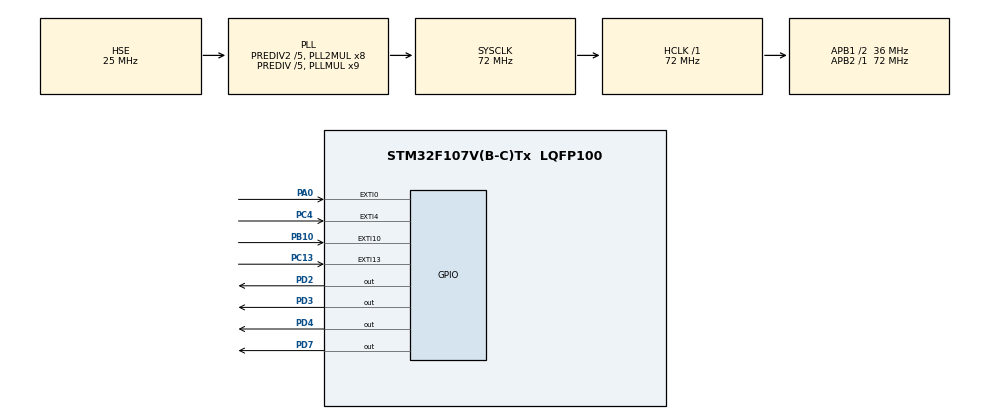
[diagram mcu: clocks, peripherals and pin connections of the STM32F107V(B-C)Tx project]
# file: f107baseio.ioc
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Mcu.Family=STM32F1
Mcu.Name=STM32F107V(B-C)Tx
Mcu.Package=LQFP100
NVIC.EXTI0_IRQn=true\:0\:0\:false\:false\:true\:true\:true\:true
NVIC.EXTI15_10_IRQn=true\:0\:0\:false\:false\:true\:true\:true\:true
NVIC.EXTI4_IRQn=true\:0\:0\:false\:false\:true\:true\:true\:true
NVIC.PriorityGroup=NVIC_PRIORITYGROUP_4
OSC_IN.Mode=HSE-External-Oscillator
OSC_IN.Signal=RCC_OSC_IN
OSC_OUT.Mode=HSE-External-Oscillator
OSC_OUT.Signal=RCC_OSC_OUT
PA0-WKUP.Signal=GPXTI0
PA13.Mode=Serial_Wire
PA13.Signal=SYS_JTMS-SWDIO
PA14.Mode=Serial_Wire
PA14.Signal=SYS_JTCK-SWCLK
PB10.Signal=GPXTI10
PC13-TAMPER-RTC.Signal=GPXTI13
PC14-OSC32_IN.Mode=LSE-External-Oscillator
PC14-OSC32_IN.Signal=RCC_OSC32_IN
PC15-OSC32_OUT.Mode=LSE-External-Oscillator
PC15-OSC32_OUT.Signal=RCC_OSC32_OUT
PC4.Signal=GPXTI4
PD2.Signal=GPIO_Output
PD3.Signal=GPIO_Output
PD4.Signal=GPIO_Output
PD7.Signal=GPIO_Output
ProjectManager.HeapSize=0x200
ProjectManager.StackSize=0x400
ProjectManager.TargetToolchain=STM32CubeIDE
RCC.AHBFreq_Value=72000000
RCC.APB1CLKDivider=RCC_HCLK_DIV2
RCC.APB1Freq_Value=36000000
RCC.APB1TimFreq_Value=72000000
RCC.APB2Freq_Value=72000000
RCC.APB2TimFreq_Value=72000000
RCC.EnbaleCSS=true
RCC.HCLKFreq_Value=72000000
RCC.HSEDivPLL=RCC_HSE_PREDIV_DIV5
RCC.HSE_VALUE=25000000
RCC.PLLMUL=RCC_PLL_MUL9
RCC.PLLSourceVirtual=RCC_PLLSOURCE_HSE
RCC.Prediv1Source=RCC_PREDIV1_SOURCE_PLL2
RCC.Prediv2=RCC_HSE_PREDIV2_DIV5
RCC.SYSCLKFreq_VALUE=72000000
RCC.SYSCLKSource=RCC_SYSCLKSOURCE_PLLCLK
RCC.USBFreq_Value=48000000
board=custom

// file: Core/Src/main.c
/* USER CODE BEGIN Header */
/**
 ******************************************************************************
 * @file           : main.c
 * @brief          : Main program body
 ******************************************************************************
 * @attention
 *
 * Copyright (c) 2023 STMicroelectronics.
 * All rights reserved.
 *
 * This software is licensed under terms that can be found in the LICENSE file
 * in the root directory of this software component.
 * If no LICENSE file comes with this software, it is provided AS-IS.
 *
 ******************************************************************************
 */
/* USER CODE END Header */
#include "main.h"

void SystemClock_Config(void);
static void MX_GPIO_Init(void);

/* USER CODE BEGIN 0 */
int ledstate[4] = { 0 };

int SwitchState(int *sst) {
	*sst = *sst == 0 ? 1 : 0;
	return *sst;
}

uint32_t usetick = 0;

void HAL_GPIO_EXTI_Callback(uint16_t GPIO_Pin) {
	uint32_t tick = HAL_GetTick();
	if (tick - usetick > 200) {
		switch (GPIO_Pin) {
		case GPIO_PIN_4:
			SwitchState(ledstate);
			break;
		case GPIO_PIN_10:
			SwitchState(ledstate + 1);
			break;
		case GPIO_PIN_13:
			SwitchState(ledstate + 2);
			break;
		case GPIO_PIN_0:
			SwitchState(ledstate + 3);
			break;
		}
	}

	usetick = tick;
}
int ProcSwitchLED(int lednum) {
	int state;
//	GPIO_TypeDef* gpioin;
//	uint16_t pinin;
	GPIO_TypeDef *gpioled;
	uint16_t pinled;

	switch (lednum) {
	case 0:
//		gpioin = GPIOC;
//		pinin = GPIO_PIN_4;
		gpioled = GPIOD;
		pinled = GPIO_PIN_2;
		break;
	case 1:
//		gpioin = GPIOB;
//		pinin = GPIO_PIN_10;
		gpioled = GPIOD;
		pinled = GPIO_PIN_3;
		break;
	case 2:
//		gpioin = GPIOC;
//		pinin = GPIO_PIN_13;
		gpioled = GPIOD;
		pinled = GPIO_PIN_4;
		break;
	case 3:
//		gpioin = GPIOA;
//		pinin = GPIO_PIN_0;
		gpioled = GPIOD;
		pinled = GPIO_PIN_7;
		break;
	}

//	state = HAL_GPIO_ReadPin(gpioin, pinin);
	state = ledstate[lednum];
	if (state) {
		HAL_GPIO_WritePin(gpioled, pinled, GPIO_PIN_SET);
	} else {
		HAL_GPIO_WritePin(gpioled, pinled, GPIO_PIN_RESET);
	}
	return 0;
}
/* USER CODE END 0 */

int main(void) {

	/* MCU Configuration--------------------------------------------------------*/

	/* Reset of all peripherals, Initializes the Flash interface and the Systick. */
	HAL_Init();

	/* Configure the system clock */
	SystemClock_Config();

	/* Initialize all configured peripherals */
	MX_GPIO_Init();

	/* Infinite loop */
	while (1) {

		/* USER CODE BEGIN 3 */
		for (int ii = 0; ii < 4; ii++) {
			ProcSwitchLED(ii);
		}
	}
	/* USER CODE END 3 */
}

void SystemClock_Config(void) {
	RCC_OscInitTypeDef RCC_OscInitStruct = { 0 };
	RCC_ClkInitTypeDef RCC_ClkInitStruct = { 0 };

	/** Initializes the RCC Oscillators according to the specified parameters
	 * in the RCC_OscInitTypeDef structure.
	 */
	RCC_OscInitStruct.OscillatorType = RCC_OSCILLATORTYPE_HSE;
	RCC_OscInitStruct.HSEState = RCC_HSE_ON;
	RCC_OscInitStruct.HSEPredivValue = RCC_HSE_PREDIV_DIV5;
	RCC_OscInitStruct.HSIState = RCC_HSI_ON;
	RCC_OscInitStruct.Prediv1Source = RCC_PREDIV1_SOURCE_PLL2;
	RCC_OscInitStruct.PLL.PLLState = RCC_PLL_ON;
	RCC_OscInitStruct.PLL.PLLSource = RCC_PLLSOURCE_HSE;
	RCC_OscInitStruct.PLL.PLLMUL = RCC_PLL_MUL9;
	RCC_OscInitStruct.PLL2.PLL2State = RCC_PLL2_ON;
	RCC_OscInitStruct.PLL2.PLL2MUL = RCC_PLL2_MUL8;
	RCC_OscInitStruct.PLL2.HSEPrediv2Value = RCC_HSE_PREDIV2_DIV5;
	if (HAL_RCC_OscConfig(&RCC_OscInitStruct) != HAL_OK) {
		Error_Handler();
	}

	/** Initializes the CPU, AHB and APB buses clocks
	 */
	RCC_ClkInitStruct.ClockType = RCC_CLOCKTYPE_HCLK | RCC_CLOCKTYPE_SYSCLK
			| RCC_CLOCKTYPE_PCLK1 | RCC_CLOCKTYPE_PCLK2;
	RCC_ClkInitStruct.SYSCLKSource = RCC_SYSCLKSOURCE_PLLCLK;
	RCC_ClkInitStruct.AHBCLKDivider = RCC_SYSCLK_DIV1;
	RCC_ClkInitStruct.APB1CLKDivider = RCC_HCLK_DIV2;
	RCC_ClkInitStruct.APB2CLKDivider = RCC_HCLK_DIV1;

	if (HAL_RCC_ClockConfig(&RCC_ClkInitStruct, FLASH_LATENCY_2) != HAL_OK) {
		Error_Handler();
	}

	/** Enables the Clock Security System
	 */
	HAL_RCC_EnableCSS();

	/** Configure the Systick interrupt time
	 */
	__HAL_RCC_PLLI2S_ENABLE();
}

static void MX_GPIO_Init(void) {
	GPIO_InitTypeDef GPIO_InitStruct = { 0 };

	/* GPIO Ports Clock Enable */
	__HAL_RCC_GPIOC_CLK_ENABLE();
	__HAL_RCC_GPIOA_CLK_ENABLE();
	__HAL_RCC_GPIOB_CLK_ENABLE();
	__HAL_RCC_GPIOD_CLK_ENABLE();

	/*Configure GPIO pin Output Level */
	HAL_GPIO_WritePin(GPIOD, GPIO_PIN_2 | GPIO_PIN_3 | GPIO_PIN_4 | GPIO_PIN_7,
			GPIO_PIN_RESET);

	/*Configure GPIO pins : PC13 PC4 */
	GPIO_InitStruct.Pin = GPIO_PIN_13 | GPIO_PIN_4;
	GPIO_InitStruct.Mode = GPIO_MODE_IT_RISING;
	GPIO_InitStruct.Pull = GPIO_NOPULL;
	HAL_GPIO_Init(GPIOC, &GPIO_InitStruct);

	/*Configure GPIO pin : PA0 */
	GPIO_InitStruct.Pin = GPIO_PIN_0;
	GPIO_InitStruct.Mode = GPIO_MODE_IT_RISING;
	GPIO_InitStruct.Pull = GPIO_NOPULL;
	HAL_GPIO_Init(GPIOA, &GPIO_InitStruct);

	/*Configure GPIO pin : PB10 */
	GPIO_InitStruct.Pin = GPIO_PIN_10;
	GPIO_InitStruct.Mode = GPIO_MODE_IT_RISING;
	GPIO_InitStruct.Pull = GPIO_NOPULL;
	HAL_GPIO_Init(GPIOB, &GPIO_InitStruct);

	/*Configure GPIO pins : PD2 PD3 PD4 PD7 */
	GPIO_InitStruct.Pin = GPIO_PIN_2 | GPIO_PIN_3 | GPIO_PIN_4 | GPIO_PIN_7;
	GPIO_InitStruct.Mode = GPIO_MODE_OUTPUT_PP;
	GPIO_InitStruct.Pull = GPIO_NOPULL;
	GPIO_InitStruct.Speed = GPIO_SPEED_FREQ_LOW;
	HAL_GPIO_Init(GPIOD, &GPIO_InitStruct);

	/* EXTI interrupt init*/
	HAL_NVIC_SetPriority(EXTI0_IRQn, 0, 0);
	HAL_NVIC_EnableIRQ(EXTI0_IRQn);

	HAL_NVIC_SetPriority(EXTI4_IRQn, 0, 0);
	HAL_NVIC_EnableIRQ(EXTI4_IRQn);

	HAL_NVIC_SetPriority(EXTI15_10_IRQn, 0, 0);
	HAL_NVIC_EnableIRQ(EXTI15_10_IRQn);

}

void Error_Handler(void) {
	__disable_irq();
	while (1) {
	}
}
